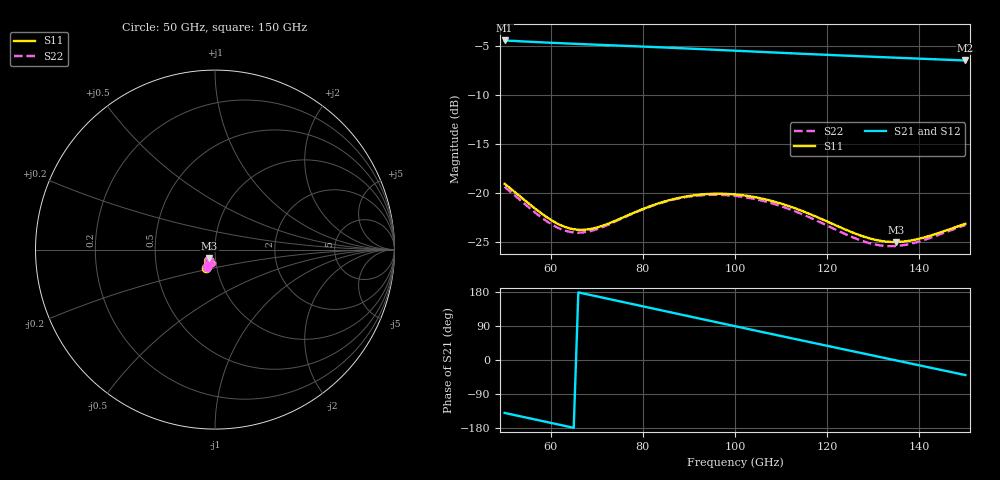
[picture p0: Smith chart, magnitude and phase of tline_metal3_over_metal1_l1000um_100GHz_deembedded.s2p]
! Created with skrf 2.2.0 (http://scikit-rf.org).
# GHz S DB R 50.0
! Port[1] = P1
! Port[2] = P2
!freq dBS11 angS11 dBS21 angS21 dBS12 angS12 dBS22 angS22
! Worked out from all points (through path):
!   101 points, 50 GHz to 150 GHz, reference 50 ohm
!   highest |S21| = -4.48 dB at 50 GHz (marker M1); lowest = -6.5 dB at 150 GHz (marker M2)
!   group delay of S21, straight-line fit = 7.23 ps
!   lowest |S11| = -25.0 dB at 135 GHz (marker M3), VSWR 1.12, Z = 46.8 - j4.36 ohm
!   |S11| at or under -10 dB: start of sweep to end of sweep
!   |S22| runs from -25.4 to -19.4 dB; largest |S21 - S12| = 6.4e-14
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50  -19.09 -115.3  -4.48 -139.6  -4.48 -139.6  -19.40 -114.6
55  -21.01 -117.0  -4.60 -152.8  -4.60 -152.8  -21.40 -115.7
60  -22.76 -113.3  -4.71 -165.9  -4.71 -165.9  -23.17 -111.1
64  -23.62 -106.7  -4.79 -176.3  -4.79 -176.3  -23.98 -103.7
67  -23.78 -101.1  -4.85 175.8  -4.85 175.8  -24.05 -97.7
70  -23.55 -96.3  -4.91 167.9  -4.91 167.9  -23.72 -92.9
75  -22.66 -92.3  -5.00 154.8  -5.00 154.8  -22.72 -89.3
79  -21.85 -92.5  -5.08 144.3  -5.08 144.3  -21.89 -90.1
84  -21.00 -96.0  -5.18 131.1  -5.18 131.1  -21.03 -94.0
88  -20.51 -100.3  -5.26 120.6  -5.26 120.6  -20.56 -98.7
92  -20.21 -105.4  -5.35 110.2  -5.35 110.2  -20.29 -104.1
96  -20.10 -110.9  -5.43 99.7  -5.43 99.7  -20.21 -109.7
100  -20.18 -116.4  -5.52 89.3  -5.52 89.3  -20.32 -115.4
108  -20.84 -126.6  -5.69 68.5  -5.69 68.5  -21.08 -125.8
117  -22.32 -134.1  -5.88 45.2  -5.88 45.2  -22.69 -133.2
122  -23.35 -135.1  -5.98 32.3  -5.98 32.3  -23.80 -133.8
126  -24.15 -133.6  -6.06 22.0  -6.06 22.0  -24.63 -131.8
130  -24.75 -130.1  -6.14 11.7  -6.14 11.7  -25.24 -127.6
134  -25.02 -125.3  -6.22 1.4  -6.22 1.4  -25.45 -122.2
135  -25.02 -124.0  -6.24 -1.2  -6.24 -1.2  -25.43 -120.8
142  -24.43 -117.0  -6.37 -19.2  -6.37 -19.2  -24.67 -113.6
150  -23.17 -115.6  -6.52 -39.8  -6.52 -39.8  -23.29 -112.8
